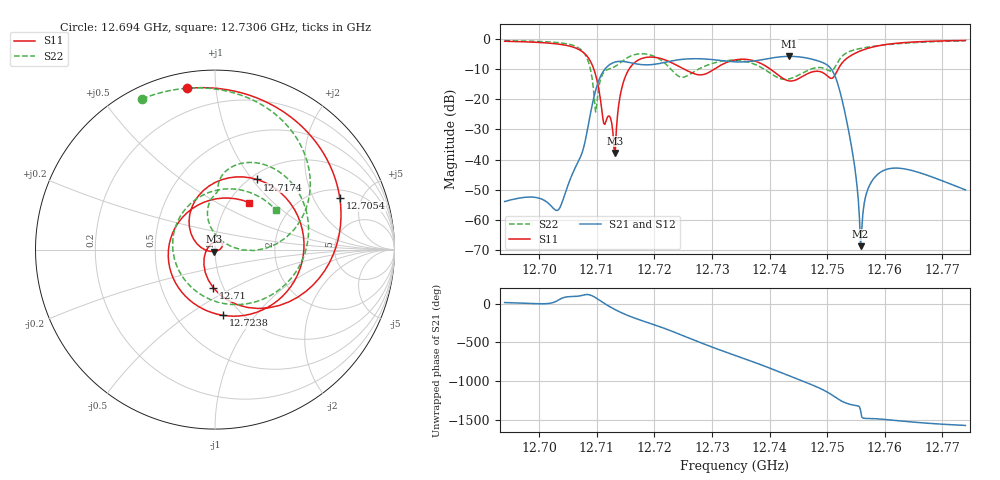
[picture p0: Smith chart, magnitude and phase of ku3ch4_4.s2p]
#  HZ  S  RI  R  50.00
! Rohde & Schwarz ZVA50 2Ports - Version 3.70 - 1145.1110k50 SN: 100192
! Date: 2025-10-24 10:35:44
! Measurements: S11 S21 S12 S22
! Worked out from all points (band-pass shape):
!   401 points, 12.694 GHz to 12.774 GHz, reference 50 ohm
!   highest |S21| = -5.81 dB at 12.7434 GHz (marker M1); lowest = -68.6 dB at 12.7558 GHz (marker M2)
!   |S21| within 3 dB of the highest: 12.71206 GHz to 12.7501 GHz (38.04 MHz wide, 0.299 % of centre)
!   lowest |S11| = -37.8 dB at 12.7132 GHz (marker M3), VSWR 1.03, Z = 49.3 - j1.09 ohm
!   |S11| at or under -10 dB: 12.70948 GHz to 12.71562 GHz (6.141 MHz wide, 0.0483 % of centre); 12.72515 GHz to 12.73043 GHz (5.288 MHz wide, 0.0415 % of centre); 12.74012 GHz to 12.75191 GHz (11.79 MHz wide, 0.0925 % of centre)
!   |S22| runs from -24.2 to -0.6 dB; largest |S21 - S12| = 0.00015
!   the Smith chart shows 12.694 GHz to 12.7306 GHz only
!   S11 on the Smith chart (normalised r, x): 12.694 GHz: 0.08, +0.84; 12.7054 GHz: 2.46, +3.27; 12.71 GHz: 0.90, -0.40; 12.7174 GHz: 1.07, +1.06; 12.7238 GHz: 0.82, -0.70; 12.7306 GHz: 1.23, +0.72
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1.2694e10  -0.1561 0.8976  0.00198 0.000468  0.00197 0.000477  -0.4056 0.8393
1.27032e10  0.5619 0.5991  0.00113 0.000917  0.00113 0.000924  0.1746 0.8492
1.27054e10  0.6951 0.2888  -2.06e-05 0.00478  -3.24e-05 0.00479  0.3931 0.7009
1.27074e10  0.6114 -0.1174  -0.00314 0.0123  -0.00317 0.0123  0.531 0.3624
1.271e10  -0.0094 -0.2128  0.065 0.1495  0.0649 0.1496  0.0041 0.0808
1.27132e10  -0.00672 -0.0111  0.0828 -0.4049  0.0829 -0.405  0.0168 0.3496
1.27148e10  -0.1446 0.1599  -0.2987 -0.295  -0.2987 -0.2951  0.0711 0.4463
1.27174e10  0.2346 0.3907  -0.3299 0.1848  -0.3299 0.1848  0.3775 0.4191
1.27208e10  0.4586 -0.1439  0.1641 0.3532  0.1641 0.3532  0.4492 -0.1266
1.27238e10  0.0432 -0.3661  0.4186 -0.1486  0.4186 -0.1486  -0.1 -0.2363
1.27266e10  -0.2523 -0.1011  -0.1068 -0.4559  -0.1067 -0.4559  -0.1771 0.2103
1.27306e10  0.1895 0.2624  -0.3527 0.2766  -0.3528 0.2765  0.3394 0.2195
1.2734e10  0.3546 -0.2726  0.2643 0.3218  0.2642 0.3219  0.3124 -0.3129
1.27394e10  -0.3201 -0.1444  -0.0482 -0.462  -0.0481 -0.4621  -0.2896 0.0779
1.27434e10  0.00149 0.2011  -0.4322 0.2755  -0.4322 0.2755  0.1999 0.085
1.27474e10  0.1996 -0.2012  0.4032 0.2206  0.4032 0.2207  0.000859 -0.3205
1.275e10  -0.1276 -0.2094  0.1698 -0.3276  0.1699 -0.3275  -0.255 -0.1722
1.2752e10  -0.2909 -0.1519  -0.1495 -0.0578  -0.1495 -0.0579  -0.4053 -0.1548
1.27558e10  0.00571 0.6322  0.000185 0.000322  0.000185 0.000323  -0.3121 0.6194
1.27576e10  0.4119 0.59  0.00293 -0.00296  0.00294 -0.00296  0.0365 0.7407
1.27608e10  0.7946 0.2013  0.00327 -0.00632  0.00329 -0.00632  0.559 0.5824
1.2774e10  0.5055 -0.792  -0.00223 -0.00225  -0.00223 -0.00226  0.6982 -0.6108
